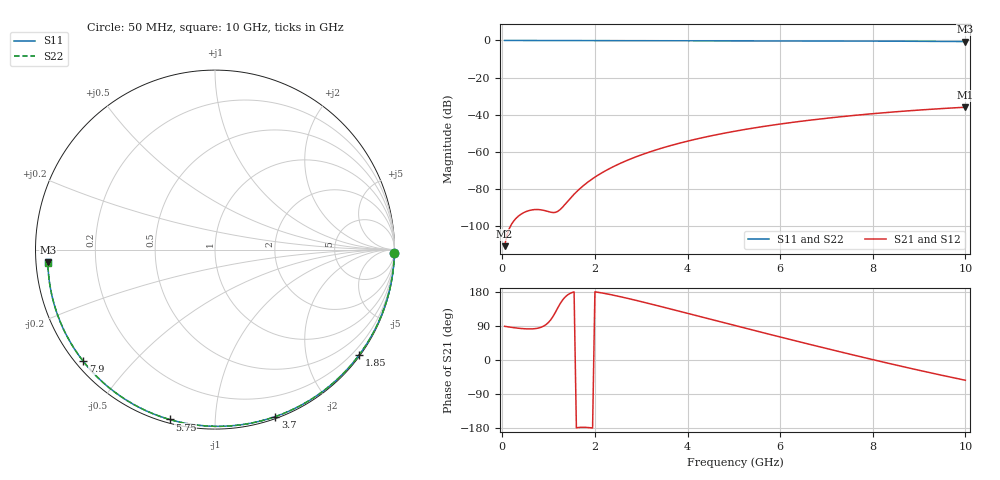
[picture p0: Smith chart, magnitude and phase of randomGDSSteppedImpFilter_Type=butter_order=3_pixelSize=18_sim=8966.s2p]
! freq	dB(S11)	phase(S11)	dB(S12)	phase(S12)
!  dB(S21)	phase(S21)	dB(S22)	phase(S22)
!S-par simulation data
#  GHz  S  DB  R 50
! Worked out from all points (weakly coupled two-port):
!   200 points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, 50 MHz to 10 GHz, reference 50 ohm
!   highest |S21| = -36.01 dB at 10 GHz (marker M1); lowest = -111.0 dB at 50 MHz (marker M2)
!   lowest |S11| = -0.6 dB at 10 GHz (marker M3), VSWR 29.28, Z = 1.71 - j1.92 ohm
!   |S11| at or under -10 dB: nowhere
!   |S22| runs from -0.6 to 0.0 dB; largest |S21 - S12| = 0
!   S11 on the Smith chart (normalised r, x): 50 MHz: open; 1.85 GHz: 0.03, -3.07; 3.7 GHz: 0.02, -1.42; 5.75 GHz: 0.02, -0.77; 7.9 GHz: 0.02, -0.37; 10 GHz: 0.03, -0.04
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0.05  -0.00 -1.0  -110.96 88.9  -110.96 88.9  -0.00 -1.0
0.45  -0.01 -8.9  -93.03 82.7  -93.03 82.7  -0.01 -8.9
0.85  -0.02 -16.8  -91.42 87.0  -91.42 87.0  -0.02 -16.8
1.65  -0.04 -32.3  -80.52 -178.1  -80.52 -178.1  -0.04 -32.3
1.7  -0.04 -33.2  -79.39 -177.7  -79.39 -177.7  -0.04 -33.2
1.75  -0.04 -34.2  -78.33 -177.6  -78.33 -177.6  -0.04 -34.2
1.85  -0.05 -36.1  -76.36 -178.1  -76.36 -178.1  -0.05 -36.1
2.15  -0.05 -41.8  -71.40 177.0  -71.40 177.0  -0.05 -41.8
2.5  -0.06 -48.3  -66.84 168.4  -66.84 168.4  -0.06 -48.3
2.9  -0.07 -55.7  -62.65 157.0  -62.65 157.0  -0.07 -55.7
3.4  -0.09 -64.8  -58.41 141.9  -58.41 141.9  -0.09 -64.8
3.7  -0.09 -70.1  -56.25 132.5  -56.25 132.5  -0.09 -70.1
4.35  -0.12 -81.5  -52.29 112.1  -52.29 112.1  -0.12 -81.4
5.05  -0.14 -93.4  -48.83 90.2  -48.83 90.2  -0.14 -93.3
5.75  -0.18 -105.0  -45.98 68.4  -45.98 68.4  -0.18 -104.9
6.2  -0.20 -112.3  -44.40 54.6  -44.40 54.6  -0.20 -112.3
6.7  -0.24 -120.4  -42.83 39.4  -42.83 39.4  -0.24 -120.4
7.3  -0.28 -130.1  -41.17 21.4  -41.17 21.4  -0.28 -130.0
7.9  -0.33 -139.7  -39.73 3.9  -39.73 3.9  -0.33 -139.7
8.35  -0.38 -147.1  -38.76 -9.0  -38.76 -9.0  -0.38 -147.1
9.2  -0.48 -161.4  -37.20 -32.6  -37.20 -32.6  -0.48 -161.3
10  -0.59 -175.6  -36.01 -53.4  -36.01 -53.4  -0.59 -175.5
